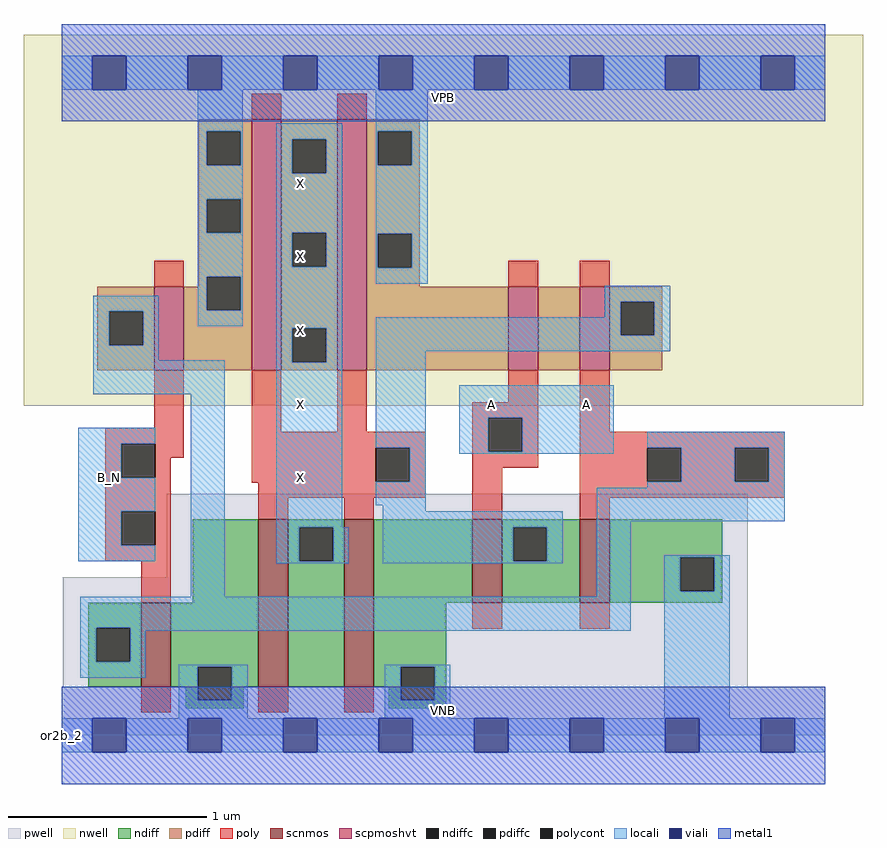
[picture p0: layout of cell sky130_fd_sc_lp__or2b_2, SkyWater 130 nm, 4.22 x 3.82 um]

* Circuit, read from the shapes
.subckt sky130_fd_sc_lp__or2b_2 A B_N VGND VNB VPB VPWR X
XM1 VGND B_N n1 VNB sky130_fd_pr__nfet_01v8 w=0.42 l=0.15
XM2 X n2 VGND VNB sky130_fd_pr__nfet_01v8 w=0.84 l=0.15 m=2
XM3 n2 A VGND VNB sky130_fd_pr__nfet_01v8 w=0.42 l=0.15
XM4 VGND n1 n2 VNB sky130_fd_pr__nfet_01v8 w=0.42 l=0.15
XM5 VPWR B_N n1 VPB sky130_fd_pr__pfet_01v8_hvt w=0.42 l=0.15
XM6 X n2 VPWR VPB sky130_fd_pr__pfet_01v8_hvt w=1.26 l=0.15 m=2
XM7 n3 A VPWR VPB sky130_fd_pr__pfet_01v8_hvt w=0.42 l=0.15
XM8 n2 n1 n3 VPB sky130_fd_pr__pfet_01v8_hvt w=0.42 l=0.15
.ends

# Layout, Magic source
magic
tech sky130A
magscale 1 2
<< nwell >>
rect -38 331 806 704
<< pwell >>
rect 106 159 690 243
rect 1 49 690 159
rect 0 0 768 49
<< scnmos >>
rect 80 49 110 133
rect 198 49 228 217
rect 284 49 314 217
rect 413 133 443 217
rect 521 133 551 217
<< scpmoshvt >>
rect 93 367 123 451
rect 191 367 221 619
rect 277 367 307 619
rect 449 367 479 451
rect 521 367 551 451
<< ndiff >>
rect 132 133 198 217
rect 27 108 80 133
rect 27 74 35 108
rect 69 74 80 108
rect 27 49 80 74
rect 110 69 198 133
rect 110 49 137 69
rect 125 35 137 49
rect 171 49 198 69
rect 228 209 284 217
rect 228 175 239 209
rect 273 175 284 209
rect 228 49 284 175
rect 314 133 413 217
rect 443 209 521 217
rect 443 175 454 209
rect 488 175 521 209
rect 443 133 521 175
rect 551 179 664 217
rect 551 145 622 179
rect 656 145 664 179
rect 551 133 664 145
rect 314 69 387 133
rect 314 49 341 69
rect 171 35 183 49
rect 125 27 183 35
rect 329 35 341 49
rect 375 35 387 69
rect 329 27 387 35
<< pdiff >>
rect 138 607 191 619
rect 138 573 146 607
rect 180 573 191 607
rect 138 539 191 573
rect 138 505 146 539
rect 180 505 191 539
rect 138 461 191 505
rect 138 451 146 461
rect 36 426 93 451
rect 36 392 48 426
rect 82 392 93 426
rect 36 367 93 392
rect 123 427 146 451
rect 180 427 191 461
rect 123 367 191 427
rect 221 599 277 619
rect 221 565 232 599
rect 266 565 277 599
rect 221 505 277 565
rect 221 471 232 505
rect 266 471 277 505
rect 221 409 277 471
rect 221 375 232 409
rect 266 375 277 409
rect 221 367 277 375
rect 307 607 360 619
rect 307 573 318 607
rect 352 573 360 607
rect 307 504 360 573
rect 307 470 318 504
rect 352 470 360 504
rect 307 451 360 470
rect 307 367 449 451
rect 479 367 521 451
rect 551 436 604 451
rect 551 402 562 436
rect 596 402 604 436
rect 551 367 604 402
<< ndiffc >>
rect 35 74 69 108
rect 137 35 171 69
rect 239 175 273 209
rect 454 175 488 209
rect 622 145 656 179
rect 341 35 375 69
<< pdiffc >>
rect 146 573 180 607
rect 146 505 180 539
rect 48 392 82 426
rect 146 427 180 461
rect 232 565 266 599
rect 232 471 266 505
rect 232 375 266 409
rect 318 573 352 607
rect 318 470 352 504
rect 562 402 596 436
<< poly >>
rect 191 619 221 645
rect 277 619 307 645
rect 93 451 123 477
rect 449 451 479 477
rect 521 451 551 477
rect 93 309 123 367
rect 44 293 123 309
rect 44 259 60 293
rect 94 279 123 293
rect 191 305 221 367
rect 277 305 307 367
rect 449 335 479 367
rect 413 319 479 335
rect 191 289 366 305
rect 94 259 110 279
rect 44 225 110 259
rect 191 255 316 289
rect 350 255 366 289
rect 191 254 366 255
rect 44 191 60 225
rect 94 191 110 225
rect 198 239 366 254
rect 413 285 429 319
rect 463 285 479 319
rect 413 269 479 285
rect 521 305 551 367
rect 521 289 727 305
rect 198 217 228 239
rect 284 217 314 239
rect 413 217 443 269
rect 521 255 589 289
rect 623 255 677 289
rect 711 255 727 289
rect 521 239 727 255
rect 521 217 551 239
rect 44 175 110 191
rect 80 133 110 175
rect 80 23 110 49
rect 413 107 443 133
rect 521 107 551 133
rect 198 23 228 49
rect 284 23 314 49
<< polycont >>
rect 60 259 94 293
rect 316 255 350 289
rect 60 191 94 225
rect 429 285 463 319
rect 589 255 623 289
rect 677 255 711 289
<< locali >>
rect 0 649 31 683
rect 65 649 127 683
rect 161 649 223 683
rect 257 649 319 683
rect 353 649 415 683
rect 449 649 511 683
rect 545 649 607 683
rect 641 649 703 683
rect 737 649 768 683
rect 137 607 182 649
rect 137 573 146 607
rect 180 573 182 607
rect 137 539 182 573
rect 137 505 146 539
rect 180 505 182 539
rect 137 461 182 505
rect 32 426 98 442
rect 32 392 48 426
rect 82 392 98 426
rect 137 427 146 461
rect 180 427 182 461
rect 137 411 182 427
rect 216 599 282 615
rect 216 565 232 599
rect 266 565 282 599
rect 216 505 282 565
rect 216 471 232 505
rect 266 471 282 505
rect 32 377 98 392
rect 216 409 282 471
rect 316 607 368 649
rect 316 573 318 607
rect 352 573 368 607
rect 316 504 368 573
rect 316 470 318 504
rect 352 470 368 504
rect 316 454 368 470
rect 546 436 612 452
rect 546 420 562 436
rect 32 343 164 377
rect 17 293 94 309
rect 17 259 60 293
rect 17 225 94 259
rect 17 191 60 225
rect 17 175 94 191
rect 130 139 164 343
rect 216 375 232 409
rect 266 375 282 409
rect 216 209 282 375
rect 316 402 562 420
rect 596 402 612 436
rect 316 386 612 402
rect 316 289 366 386
rect 350 255 366 289
rect 400 319 555 352
rect 400 285 429 319
rect 463 285 555 319
rect 400 283 555 285
rect 589 289 727 305
rect 316 231 366 255
rect 623 255 677 289
rect 711 255 727 289
rect 589 249 727 255
rect 323 225 366 231
rect 323 209 504 225
rect 216 175 239 209
rect 273 175 289 209
rect 216 173 289 175
rect 323 175 454 209
rect 488 175 504 209
rect 323 173 504 175
rect 538 215 727 249
rect 538 139 572 215
rect 19 108 572 139
rect 19 74 35 108
rect 69 105 572 108
rect 606 179 672 181
rect 606 145 622 179
rect 656 145 672 179
rect 69 74 84 105
rect 19 58 84 74
rect 118 69 187 71
rect 118 35 137 69
rect 171 35 187 69
rect 118 17 187 35
rect 325 69 391 71
rect 325 35 341 69
rect 375 35 391 69
rect 325 17 391 35
rect 606 17 672 145
rect 0 -17 31 17
rect 65 -17 127 17
rect 161 -17 223 17
rect 257 -17 319 17
rect 353 -17 415 17
rect 449 -17 511 17
rect 545 -17 607 17
rect 641 -17 703 17
rect 737 -17 768 17
<< viali >>
rect 31 649 65 683
rect 127 649 161 683
rect 223 649 257 683
rect 319 649 353 683
rect 415 649 449 683
rect 511 649 545 683
rect 607 649 641 683
rect 703 649 737 683
rect 31 -17 65 17
rect 127 -17 161 17
rect 223 -17 257 17
rect 319 -17 353 17
rect 415 -17 449 17
rect 511 -17 545 17
rect 607 -17 641 17
rect 703 -17 737 17
<< metal1 >>
rect 0 683 768 715
rect 0 649 31 683
rect 65 649 127 683
rect 161 649 223 683
rect 257 649 319 683
rect 353 649 415 683
rect 449 649 511 683
rect 545 649 607 683
rect 641 649 703 683
rect 737 649 768 683
rect 0 617 768 649
rect 0 17 768 49
rect 0 -17 31 17
rect 65 -17 127 17
rect 161 -17 223 17
rect 257 -17 319 17
rect 353 -17 415 17
rect 449 -17 511 17
rect 545 -17 607 17
rect 641 -17 703 17
rect 737 -17 768 17
rect 0 -49 768 -17
<< labels >>
flabel pwell s 0 0 768 49 0 FreeSans 200 0 0 0 VNB
port 4 nsew ground bidirectional
flabel nwell s 0 617 768 666 0 FreeSans 200 0 0 0 VPB
port 5 nsew power bidirectional
rlabel comment s 0 0 0 0 4 or2b_2
flabel metal1 s 0 617 768 666 0 FreeSans 340 0 0 0 VPWR
port 6 nsew power bidirectional
flabel metal1 s 0 0 768 49 0 FreeSans 340 0 0 0 VGND
port 3 nsew ground bidirectional
flabel locali s 415 316 449 350 0 FreeSans 340 0 0 0 A
port 1 nsew signal input
flabel locali s 511 316 545 350 0 FreeSans 340 0 0 0 A
port 1 nsew signal input
flabel locali s 31 242 65 276 0 FreeSans 340 0 0 0 B_N
port 2 nsew signal input
flabel locali s 223 242 257 276 0 FreeSans 340 0 0 0 X
port 7 nsew signal output
flabel locali s 223 316 257 350 0 FreeSans 340 0 0 0 X
port 7 nsew signal output
flabel locali s 223 390 257 424 0 FreeSans 340 0 0 0 X
port 7 nsew signal output
flabel locali s 223 464 257 498 0 FreeSans 340 0 0 0 X
port 7 nsew signal output
flabel locali s 223 538 257 572 0 FreeSans 340 0 0 0 X
port 7 nsew signal output
<< properties >>
string LEFsite unit
string LEFclass CORE
string FIXED_BBOX 0 0 768 666
string GDS_FILE $PDKPATH/libs.ref/sky130_fd_sc_lp/gds/sky130_fd_sc_lp.gds
string LEFsymmetry X Y R90
string GDS_END 2265944
string GDS_START 2259690
<< end >>
